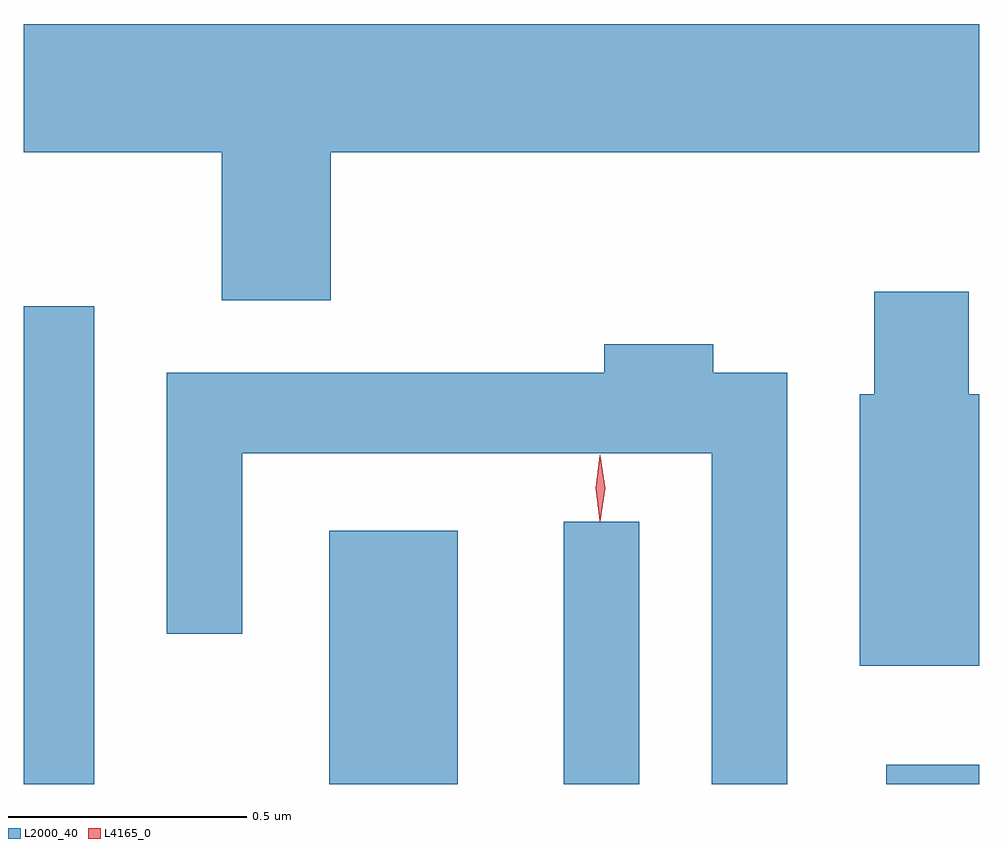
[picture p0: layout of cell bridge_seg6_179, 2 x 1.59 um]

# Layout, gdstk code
import gdstk
lib = gdstk.Library(unit=1e-6, precision=1e-09)
def R(c, l, rs):  # rectangles x0, y0, x1, y1
    for r in rs: c.add(gdstk.rectangle(r[:2], r[2:], *l))
def P(c, l, *ps):  # polygons
    for p in ps: c.add(gdstk.Polygon(p, *l))
L2000_40 = (2000, 40)
L4165_0 = (4165, 0)

bridge_seg6_179 = lib.new_cell('bridge_seg6_179')
R(bridge_seg6_179, L2000_40, [(1117.426,1568.694,1117.574,1569.693), (1118.066,1568.694,1118.334,1569.224), (1118.556,1568.694,1118.714,1569.243), (1119.231,1568.694,1119.426,1568.734)])
P(bridge_seg6_179, L2000_40, [(1118.069,1570.016),(1119.426,1570.016),(1119.426,1570.284),(1117.426,1570.284),(1117.426,1570.016),(1117.841,1570.016),(1117.841,1569.706),(1118.069,1569.706)],
  [(1119.426,1569.509),(1119.404,1569.509),(1119.404,1569.724),(1119.206,1569.724),(1119.206,1569.509),(1119.176,1569.509),(1119.176,1568.941),(1119.426,1568.941)],
  [(1119.024,1569.554),(1118.869,1569.554),(1118.869,1569.614),(1118.641,1569.614),(1118.641,1569.554),(1117.726,1569.554),(1117.726,1569.008),(1117.884,1569.008),(1117.884,1569.386),(1118.866,1569.386),(1118.866,1568.694),(1119.024,1568.694)])
P(bridge_seg6_179, L4165_0, [(1118.633,1569.243),(1118.632,1569.244),(1118.623,1569.313),(1118.632,1569.382),(1118.633,1569.383),(1118.633,1569.382),(1118.643,1569.313),(1118.633,1569.244)])

lib.write_gds('bridge_seg6_179.gds')
